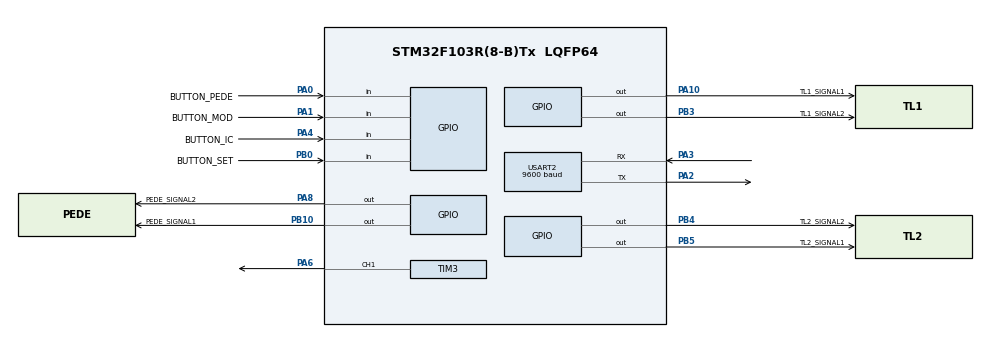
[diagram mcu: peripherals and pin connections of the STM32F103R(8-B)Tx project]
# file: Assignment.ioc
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Mcu.Family=STM32F1
Mcu.Name=STM32F103R(8-B)Tx
Mcu.Package=LQFP64
NVIC.PriorityGroup=NVIC_PRIORITYGROUP_4
NVIC.TIM2_IRQn=true\:0\:0\:false\:false\:true\:true\:true
NVIC.USART2_IRQn=true\:0\:0\:false\:false\:true\:true\:true
PA0-WKUP.GPIO_Label=BUTTON_PEDE
PA0-WKUP.Signal=GPIO_Input
PA1.GPIO_Label=BUTTON_MOD
PA1.Signal=GPIO_Input
PA10.GPIO_Label=TL1_SIGNAL1
PA10.Signal=GPIO_Output
PA13.Mode=Serial_Wire
PA13.Signal=SYS_JTMS-SWDIO
PA14.Mode=Serial_Wire
PA14.Signal=SYS_JTCK-SWCLK
PA2.Mode=Asynchronous
PA2.Signal=USART2_TX
PA3.Mode=Asynchronous
PA3.Signal=USART2_RX
PA4.GPIO_Label=BUTTON_IC
PA4.Signal=GPIO_Input
PA6.Signal=S_TIM3_CH1
PA8.GPIO_Label=PEDE_SIGNAL2
PA8.Signal=GPIO_Output
PB0.GPIO_Label=BUTTON_SET
PB0.Signal=GPIO_Input
PB10.GPIO_Label=PEDE_SIGNAL1
PB10.Signal=GPIO_Output
PB3.GPIO_Label=TL1_SIGNAL2
PB3.Signal=GPIO_Output
PB4.GPIO_Label=TL2_SIGNAL2
PB4.Signal=GPIO_Output
PB5.GPIO_Label=TL2_SIGNAL1
PB5.Signal=GPIO_Output
ProjectManager.HeapSize=0x200
ProjectManager.StackSize=0x400
ProjectManager.TargetToolchain=STM32CubeIDE
RCC.APB1Freq_Value=8000000
RCC.APB2Freq_Value=8000000
SH.S_TIM3_CH1.0=TIM3_CH1,PWM Generation1 CH1
TIM2.Period=9
TIM2.Prescaler=7999
TIM3.Channel-PWM\ Generation1\ CH1=TIM_CHANNEL_1
TIM3.Period=999
TIM3.Prescaler=79
TIM3.Pulse-PWM\ Generation1\ CH1=199
USART2.BaudRate=9600
USART2.VirtualMode=VM_ASYNC
VP_TIM2_VS_ClockSourceINT.Mode=Internal
VP_TIM3_VS_ClockSourceINT.Mode=Internal
board=custom

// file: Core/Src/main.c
/* USER CODE BEGIN Header */
/**
  ******************************************************************************
  * @file           : main.c
  * @brief          : Main program body
  ******************************************************************************
  * @attention
  *
  * <h2><center>&copy; Copyright (c) 2022 STMicroelectronics.
  * All rights reserved.</center></h2>
  *
  * This software component is licensed by ST under BSD 3-Clause license,
  * the "License"; You may not use this file except in compliance with the
  * License. You may obtain a copy of the License at:
  *                        opensource.org/licenses/BSD-3-Clause
  *
  ******************************************************************************
  */
/* USER CODE END Header */
#include "main.h"

/* USER CODE BEGIN Includes */
#include "global.h"
#include "button_reading.h"
#include "fsm_traffic_light.h"
#include "timer.h"
#include "display_traffic_light.h"
#include "fsm_pedestrian.h"
/* USER CODE END Includes */

TIM_HandleTypeDef htim2;
TIM_HandleTypeDef htim3;

UART_HandleTypeDef huart2;

void SystemClock_Config(void);
static void MX_GPIO_Init(void);
static void MX_TIM2_Init(void);
static void MX_USART2_UART_Init(void);
static void MX_TIM3_Init(void);

/* USER CODE BEGIN 0 */
uint8_t temp = 0;
void HAL_UART_RxCpltCallback ( UART_HandleTypeDef * huart ){
	if( huart -> Instance == USART2 ) {
		HAL_UART_Transmit (&huart2, &temp, 1, 50) ;
		HAL_UART_Receive_IT (&huart2, &temp, 1) ;

	}
}

void FSM_Buzzer(){
	/* If Pedestrian button is pressed */
	if(FSM_Pedestrian_State == WORK && FSM_Traffic_Light_State_Row == AUTO_RED){
		switch (FSM_Buzzer_State){
		case ON:
			/* Turn on Buzzer */
			if(timer4Flag == 1){
				__HAL_TIM_SET_COMPARE(&htim3, TIM_CHANNEL_1, Increase_Duty_Cycle);
				Increase_Duty_Cycle += 50;
				if(Increase_Duty_Cycle >= 999){
					Increase_Duty_Cycle = 989;
				}
				FSM_Buzzer_State = OFF;
				/* Set time on */
				setTimer4(DURATION_ON_TIME * TICK);
			}
			break;
		case OFF:
			/* Turn off Buzzer */
			if(timer4Flag == 1){
				FSM_Buzzer_State = ON;
				__HAL_TIM_SET_COMPARE(&htim3, TIM_CHANNEL_1, 0);
				if(red_time*TICK*100 <= Increase_Speed){
					setTimer4(1*TICK);
					break;
				}
				Increase_Speed += 4;
				/* Set time off */
				setTimer4(red_time*TICK*100/Increase_Speed);
			}
			break;
		default:
			break;
		}
	}
	else if(FSM_Pedestrian_State == WORK && FSM_Traffic_Light_State_Row != AUTO_RED){
		/* Reset all */
		Increase_Duty_Cycle = 99;
		Increase_Speed = red_time;
		__HAL_TIM_SET_COMPARE(&htim3, TIM_CHANNEL_1, 0);
	}
}
/* USER CODE END 0 */

int main(void)
{

  /* MCU Configuration--------------------------------------------------------*/

  /* Reset of all peripherals, Initializes the Flash interface and the Systick. */
  HAL_Init();

  /* Configure the system clock */
  SystemClock_Config();

  /* Initialize all configured peripherals */
  MX_GPIO_Init();
  MX_TIM2_Init();
  MX_USART2_UART_Init();
  MX_TIM3_Init();
  /* USER CODE BEGIN 2 */
  HAL_TIM_Base_Start_IT(&htim2);
  HAL_TIM_PWM_Start(&htim3, TIM_CHANNEL_1);
  /* USER CODE END 2 */

  /* Infinite loop */
  /* USER CODE BEGIN WHILE */
  setTimer1(100);
  setTimer2(100);
  while (1)
  {
	  FSM_Traffic_Light_Row();
	  FSM_Traffic_Light_Col();
	  FSM_Pedestrian();
	  display_traffic_light();
	  FSM_Buzzer();
    /* USER CODE END WHILE */

  }
}

void SystemClock_Config(void)
{
  RCC_OscInitTypeDef RCC_OscInitStruct = {0};
  RCC_ClkInitTypeDef RCC_ClkInitStruct = {0};

  /** Initializes the RCC Oscillators according to the specified parameters
  * in the RCC_OscInitTypeDef structure.
  */
  RCC_OscInitStruct.OscillatorType = RCC_OSCILLATORTYPE_HSI;
  RCC_OscInitStruct.HSIState = RCC_HSI_ON;
  RCC_OscInitStruct.HSICalibrationValue = RCC_HSICALIBRATION_DEFAULT;
  RCC_OscInitStruct.PLL.PLLState = RCC_PLL_NONE;
  if (HAL_RCC_OscConfig(&RCC_OscInitStruct) != HAL_OK)
  {
    Error_Handler();
  }
  /** Initializes the CPU, AHB and APB buses clocks
  */
  RCC_ClkInitStruct.ClockType = RCC_CLOCKTYPE_HCLK|RCC_CLOCKTYPE_SYSCLK
                              |RCC_CLOCKTYPE_PCLK1|RCC_CLOCKTYPE_PCLK2;
  RCC_ClkInitStruct.SYSCLKSource = RCC_SYSCLKSOURCE_HSI;
  RCC_ClkInitStruct.AHBCLKDivider = RCC_SYSCLK_DIV1;
  RCC_ClkInitStruct.APB1CLKDivider = RCC_HCLK_DIV1;
  RCC_ClkInitStruct.APB2CLKDivider = RCC_HCLK_DIV1;

  if (HAL_RCC_ClockConfig(&RCC_ClkInitStruct, FLASH_LATENCY_0) != HAL_OK)
  {
    Error_Handler();
  }
}

static void MX_TIM2_Init(void)
{

  TIM_ClockConfigTypeDef sClockSourceConfig = {0};
  TIM_MasterConfigTypeDef sMasterConfig = {0};

  htim2.Instance = TIM2;
  htim2.Init.Prescaler = 7999;
  htim2.Init.CounterMode = TIM_COUNTERMODE_UP;
  htim2.Init.Period = 9;
  htim2.Init.ClockDivision = TIM_CLOCKDIVISION_DIV1;
  htim2.Init.AutoReloadPreload = TIM_AUTORELOAD_PRELOAD_DISABLE;
  if (HAL_TIM_Base_Init(&htim2) != HAL_OK)
  {
    Error_Handler();
  }
  sClockSourceConfig.ClockSource = TIM_CLOCKSOURCE_INTERNAL;
  if (HAL_TIM_ConfigClockSource(&htim2, &sClockSourceConfig) != HAL_OK)
  {
    Error_Handler();
  }
  sMasterConfig.MasterOutputTrigger = TIM_TRGO_RESET;
  sMasterConfig.MasterSlaveMode = TIM_MASTERSLAVEMODE_DISABLE;
  if (HAL_TIMEx_MasterConfigSynchronization(&htim2, &sMasterConfig) != HAL_OK)
  {
    Error_Handler();
  }

}

static void MX_TIM3_Init(void)
{

  TIM_ClockConfigTypeDef sClockSourceConfig = {0};
  TIM_MasterConfigTypeDef sMasterConfig = {0};
  TIM_OC_InitTypeDef sConfigOC = {0};

  htim3.Instance = TIM3;
  htim3.Init.Prescaler = 79;
  htim3.Init.CounterMode = TIM_COUNTERMODE_UP;
  htim3.Init.Period = 999;
  htim3.Init.ClockDivision = TIM_CLOCKDIVISION_DIV1;
  htim3.Init.AutoReloadPreload = TIM_AUTORELOAD_PRELOAD_DISABLE;
  if (HAL_TIM_Base_Init(&htim3) != HAL_OK)
  {
    Error_Handler();
  }
  sClockSourceConfig.ClockSource = TIM_CLOCKSOURCE_INTERNAL;
  if (HAL_TIM_ConfigClockSource(&htim3, &sClockSourceConfig) != HAL_OK)
  {
    Error_Handler();
  }
  if (HAL_TIM_PWM_Init(&htim3) != HAL_OK)
  {
    Error_Handler();
  }
  sMasterConfig.MasterOutputTrigger = TIM_TRGO_RESET;
  sMasterConfig.MasterSlaveMode = TIM_MASTERSLAVEMODE_DISABLE;
  if (HAL_TIMEx_MasterConfigSynchronization(&htim3, &sMasterConfig) != HAL_OK)
  {
    Error_Handler();
  }
  sConfigOC.OCMode = TIM_OCMODE_PWM1;
  sConfigOC.Pulse = 199;
  sConfigOC.OCPolarity = TIM_OCPOLARITY_HIGH;
  sConfigOC.OCFastMode = TIM_OCFAST_DISABLE;
  if (HAL_TIM_PWM_ConfigChannel(&htim3, &sConfigOC, TIM_CHANNEL_1) != HAL_OK)
  {
    Error_Handler();
  }
  HAL_TIM_MspPostInit(&htim3);

}

static void MX_USART2_UART_Init(void)
{

  huart2.Instance = USART2;
  huart2.Init.BaudRate = 9600;
  huart2.Init.WordLength = UART_WORDLENGTH_8B;
  huart2.Init.StopBits = UART_STOPBITS_1;
  huart2.Init.Parity = UART_PARITY_NONE;
  huart2.Init.Mode = UART_MODE_TX_RX;
  huart2.Init.HwFlowCtl = UART_HWCONTROL_NONE;
  huart2.Init.OverSampling = UART_OVERSAMPLING_16;
  if (HAL_UART_Init(&huart2) != HAL_OK)
  {
    Error_Handler();
  }

}

static void MX_GPIO_Init(void)
{
  GPIO_InitTypeDef GPIO_InitStruct = {0};

  /* GPIO Ports Clock Enable */
  __HAL_RCC_GPIOA_CLK_ENABLE();
  __HAL_RCC_GPIOB_CLK_ENABLE();

  /*Configure GPIO pin Output Level */
  HAL_GPIO_WritePin(GPIOB, PEDE_SIGNAL1_Pin|TL1_SIGNAL2_Pin|TL2_SIGNAL2_Pin|TL2_SIGNAL1_Pin, GPIO_PIN_RESET);

  /*Configure GPIO pin Output Level */
  HAL_GPIO_WritePin(GPIOA, PEDE_SIGNAL2_Pin|TL1_SIGNAL1_Pin, GPIO_PIN_RESET);

  /*Configure GPIO pins : BUTTON_PEDE_Pin BUTTON_MOD_Pin BUTTON_IC_Pin */
  GPIO_InitStruct.Pin = BUTTON_PEDE_Pin|BUTTON_MOD_Pin|BUTTON_IC_Pin;
  GPIO_InitStruct.Mode = GPIO_MODE_INPUT;
  GPIO_InitStruct.Pull = GPIO_NOPULL;
  HAL_GPIO_Init(GPIOA, &GPIO_InitStruct);

  /*Configure GPIO pin : BUTTON_SET_Pin */
  GPIO_InitStruct.Pin = BUTTON_SET_Pin;
  GPIO_InitStruct.Mode = GPIO_MODE_INPUT;
  GPIO_InitStruct.Pull = GPIO_NOPULL;
  HAL_GPIO_Init(BUTTON_SET_GPIO_Port, &GPIO_InitStruct);

  /*Configure GPIO pins : PEDE_SIGNAL1_Pin TL1_SIGNAL2_Pin TL2_SIGNAL2_Pin TL2_SIGNAL1_Pin */
  GPIO_InitStruct.Pin = PEDE_SIGNAL1_Pin|TL1_SIGNAL2_Pin|TL2_SIGNAL2_Pin|TL2_SIGNAL1_Pin;
  GPIO_InitStruct.Mode = GPIO_MODE_OUTPUT_PP;
  GPIO_InitStruct.Pull = GPIO_NOPULL;
  GPIO_InitStruct.Speed = GPIO_SPEED_FREQ_LOW;
  HAL_GPIO_Init(GPIOB, &GPIO_InitStruct);

  /*Configure GPIO pins : PEDE_SIGNAL2_Pin TL1_SIGNAL1_Pin */
  GPIO_InitStruct.Pin = PEDE_SIGNAL2_Pin|TL1_SIGNAL1_Pin;
  GPIO_InitStruct.Mode = GPIO_MODE_OUTPUT_PP;
  GPIO_InitStruct.Pull = GPIO_NOPULL;
  GPIO_InitStruct.Speed = GPIO_SPEED_FREQ_LOW;
  HAL_GPIO_Init(GPIOA, &GPIO_InitStruct);

}

/* USER CODE BEGIN 4 */
void HAL_TIM_PeriodElapsedCallback(TIM_HandleTypeDef * htim){
	timerRun();
	button_reading();
}
/* USER CODE END 4 */

void Error_Handler(void)
{
  __disable_irq();
  while (1)
  {
  }
}

/************************ (C) COPYRIGHT STMicroelectronics *****END OF FILE****/
